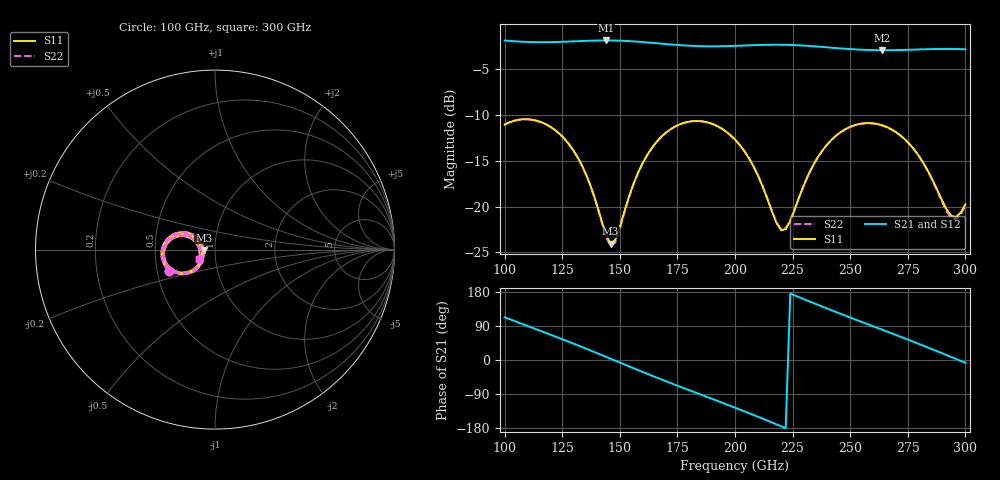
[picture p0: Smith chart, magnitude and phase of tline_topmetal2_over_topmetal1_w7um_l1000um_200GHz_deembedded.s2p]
! Created with skrf 2.2.0 (http://scikit-rf.org).
# GHz S DB R 50.0
! Port[1] = P1
! Port[2] = P2
!freq dBS11 angS11 dBS21 angS21 dBS12 angS12 dBS22 angS22
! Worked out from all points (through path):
!   101 points, 100 GHz to 300 GHz, reference 50 ohm
!   highest |S21| = -1.85 dB at 144 GHz (marker M1); lowest = -2.9 dB at 264 GHz (marker M2)
!   group delay of S21, straight-line fit = 6.68 ps
!   lowest |S11| = -24.0 dB at 146 GHz (marker M3), VSWR 1.13, Z = 44.1 - j0.179 ohm
!   |S11| at or under -10 dB: start of sweep to end of sweep
!   |S22| runs from -24.3 to -10.5 dB; largest |S21 - S12| = 8.8e-14
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100  -11.04 -154.8  -1.85 112.9  -1.85 112.9  -11.04 -155.0
116  -10.79 174.6  -2.04 75.9  -2.04 75.9  -10.79 174.4
126  -12.60 157.0  -1.99 52.5  -1.99 52.5  -12.61 156.6
134  -15.72 146.7  -1.90 33.2  -1.90 33.2  -15.76 146.2
144  -23.09 165.0  -1.85 8.4  -1.85 8.4  -23.32 164.3
146  -24.04 -178.2  -1.85 3.4  -1.85 3.4  -24.32 -178.3
148  -23.67 -159.7  -1.86 -1.7  -1.86 -1.7  -23.93 -159.1
156  -17.48 -133.1  -1.95 -21.8  -1.95 -21.8  -17.53 -132.3
168  -12.38 -146.1  -2.20 -51.2  -2.20 -51.2  -12.39 -145.6
176  -11.01 -159.9  -2.36 -70.1  -2.36 -70.1  -11.02 -159.5
184  -10.65 -174.1  -2.46 -88.6  -2.46 -88.6  -10.65 -173.8
200  -12.68 159.2  -2.44 -125.8  -2.44 -125.8  -12.67 159.5
210  -16.63 149.9  -2.35 -149.9  -2.35 -149.9  -16.60 150.2
220  -22.57 -179.4  -2.32 -174.7  -2.32 -174.7  -22.46 -179.4
224  -21.57 -152.5  -2.34 175.2  -2.34 175.2  -21.50 -152.9
234  -15.45 -137.8  -2.48 150.4  -2.48 150.4  -15.45 -138.1
248  -11.53 -156.0  -2.76 116.8  -2.76 116.8  -11.54 -156.2
264  -11.13 177.7  -2.91 79.7  -2.91 79.7  -11.14 177.4
268  -11.57 171.4  -2.91 70.4  -2.91 70.4  -11.59 171.1
282  -15.32 155.5  -2.81 37.2  -2.81 37.2  -15.38 155.0
294  -21.03 179.8  -2.78 7.6  -2.78 7.6  -21.27 179.6
300  -19.76 -150.8  -2.81 -7.3  -2.81 -7.3  -19.93 -150.0
